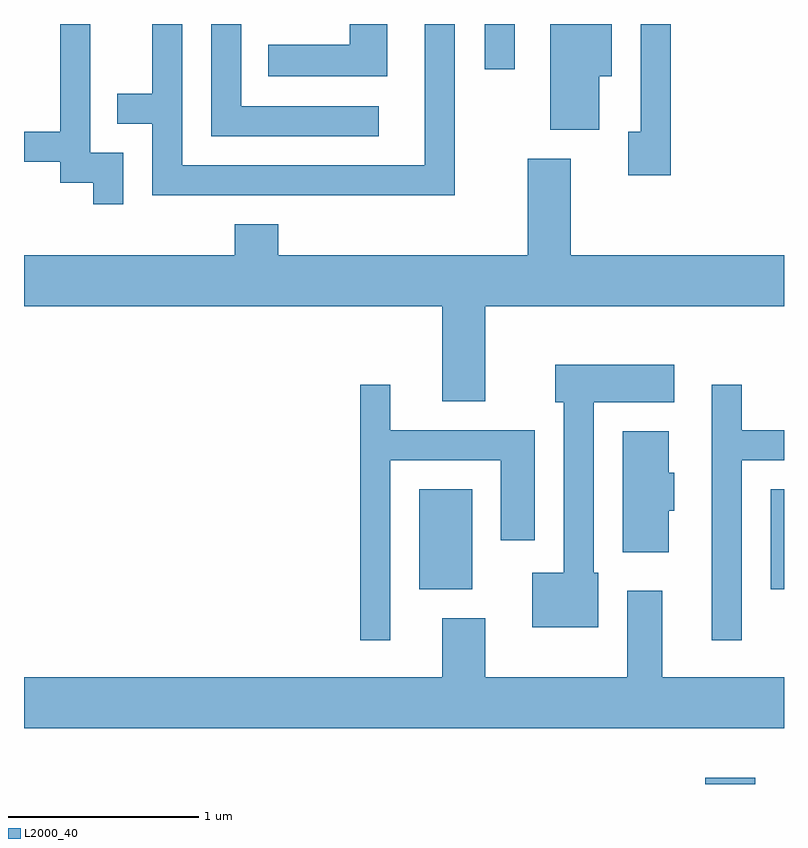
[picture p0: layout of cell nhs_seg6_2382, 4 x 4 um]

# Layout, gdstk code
import gdstk
lib = gdstk.Library(unit=1e-6, precision=1e-09)
def R(c, l, rs):  # rectangles x0, y0, x1, y1
    for r in rs: c.add(gdstk.rectangle(r[:2], r[2:], *l))
def P(c, l, *ps):  # polygons
    for p in ps: c.add(gdstk.Polygon(p, *l))
L2000_40 = (2000, 40)

nhs_seg6_2382 = lib.new_cell('nhs_seg6_2382')
R(nhs_seg6_2382, L2000_40, [(261.196,1574.162,261.459,1574.194), (259.691,1575.186,259.969,1575.714), (261.541,1575.186,261.611,1575.714), (260.036,1577.923,260.194,1578.162)])
P(nhs_seg6_2382, L2000_40, [(259.879,1578.162),(259.721,1578.162),(259.721,1577.419),(258.444,1577.419),(258.444,1578.162),(258.286,1578.162),(258.286,1577.794),(258.103,1577.794),(258.103,1577.636),(258.286,1577.636),(258.286,1577.261),(259.879,1577.261)],
  [(258.134,1577.484),(257.959,1577.484),(257.959,1578.162),(257.801,1578.162),(257.801,1577.594),(257.611,1577.594),(257.611,1577.436),(257.801,1577.436),(257.801,1577.326),(257.976,1577.326),(257.976,1577.213),(258.134,1577.213)],
  [(261.014,1578.162),(260.856,1578.162),(260.856,1577.594),(260.791,1577.594),(260.791,1577.366),(261.014,1577.366)],
  [(260.639,1577.886),(260.704,1577.886),(260.704,1578.162),(260.381,1578.162),(260.381,1577.606),(260.639,1577.606)],
  [(259.478,1577.729),(258.754,1577.729),(258.754,1578.162),(258.596,1578.162),(258.596,1577.571),(259.478,1577.571)],
  [(259.524,1578.162),(259.326,1578.162),(259.326,1578.054),(258.897,1578.054),(258.897,1577.886),(259.524,1577.886)],
  [(260.039,1576.676),(261.611,1576.676),(261.611,1576.944),(260.489,1576.944),(260.489,1577.454),(260.261,1577.454),(260.261,1576.944),(258.949,1576.944),(258.949,1577.109),(258.721,1577.109),(258.721,1576.944),(257.611,1576.944),(257.611,1576.676),(259.811,1576.676),(259.811,1576.176),(260.039,1576.176)],
  [(260.634,1575.274),(260.609,1575.274),(260.609,1576.171),(261.034,1576.171),(261.034,1576.369),(260.406,1576.369),(260.406,1576.171),(260.451,1576.171),(260.451,1575.274),(260.286,1575.274),(260.286,1574.986),(260.634,1574.986)],
  [(259.539,1575.866),(260.121,1575.866),(260.121,1575.446),(260.299,1575.446),(260.299,1576.024),(259.539,1576.024),(259.539,1576.263),(259.381,1576.263),(259.381,1574.918),(259.539,1574.918)],
  [(261.389,1575.866),(261.611,1575.866),(261.611,1576.024),(261.389,1576.024),(261.389,1576.263),(261.231,1576.263),(261.231,1574.918),(261.389,1574.918)],
  [(261.004,1575.601),(261.034,1575.601),(261.034,1575.799),(261.004,1575.799),(261.004,1576.019),(260.761,1576.019),(260.761,1575.381),(261.004,1575.381)],
  [(261.611,1574.724),(260.969,1574.724),(260.969,1575.179),(260.786,1575.179),(260.786,1574.724),(260.039,1574.724),(260.039,1575.034),(259.811,1575.034),(259.811,1574.724),(257.611,1574.724),(257.611,1574.456),(261.611,1574.456)])

lib.write_gds('nhs_seg6_2382.gds')
